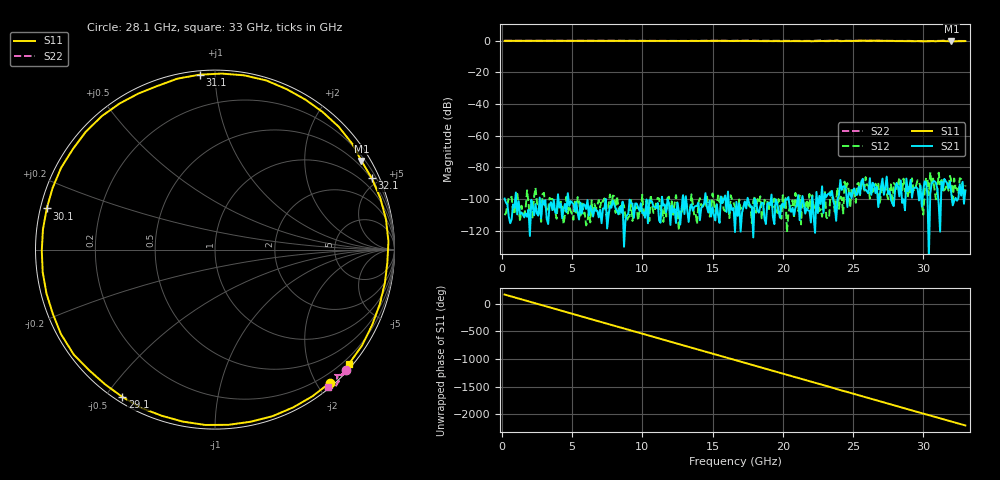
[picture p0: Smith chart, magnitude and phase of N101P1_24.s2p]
# GHZ S RI R 50
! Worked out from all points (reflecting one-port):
!   329 points, 200 MHz to 33 GHz, reference 50 ohm
!   lowest |S11| = -0.4 dB at 32 GHz (marker M1), VSWR 42.17, Z = 16.3 + j178 ohm
!   phase of S11 starts at 165 deg and turns -2366 deg over the sweep
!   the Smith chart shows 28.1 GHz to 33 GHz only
!   S11 on the Smith chart (normalised r, x): 28.1 GHz: 0.06, -2.18; 29.1 GHz: 0.02, -0.55; 30.1 GHz: 0.02, +0.12; 31.1 GHz: 0.02, +0.92; 32.1 GHz: 0.45, +4.56; 33 GHz: 0.08, -2.70
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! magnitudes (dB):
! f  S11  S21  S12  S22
! 200 MHz  0.0  -99.7  -110.2  0.0
! 5.7 GHz  0.0  -109.1  -101.5  0.0
! 11.2 GHz  -0.1  -113.7  -99.8  -0.1
! 16.6 GHz  -0.1  -120.8  -104.9  0.0
! 22.1 GHz  -0.3  -98.3  -97.6  -0.1
! 22.6 GHz  -0.1  -98.0  -107.6  0.2
! 23 GHz  -0.2  -96.6  -94.7  -0.1
! 23.9 GHz  0.1  -99.9  -92.7  0.1
! 24.1 GHz  -0.2  -87.9  -98.5  0.0
! 24.5 GHz  -0.1  -94.2  -93.8  0.0
! 24.9 GHz  -0.2  -99.5  -93.4  0.0
! 25.5 GHz  0.1  -97.0  -97.6  0.0
! 26.6 GHz  0.0  -96.2  -90.3  0.1
! 27.6 GHz  -0.1  -95.1  -94.9  -0.1
! 28.1 GHz  -0.2  -89.8  -93.6  -0.1
! 29.1 GHz  -0.3  -87.9  -97.1  -0.1
! 30.1 GHz  -0.3  -88.9  -95.4  -0.3
! 31.1 GHz  -0.2  -103.1  -83.4  -0.1
! 31.8 GHz  -0.3  -93.3  -94.7  0.1
! 32 GHz  -0.4  -96.6  -88.4  -0.1
! 32.1 GHz  -0.4  -104.0  -103.3  -0.1
! 33 GHz  -0.2  -94.6  -91.4  -0.1
